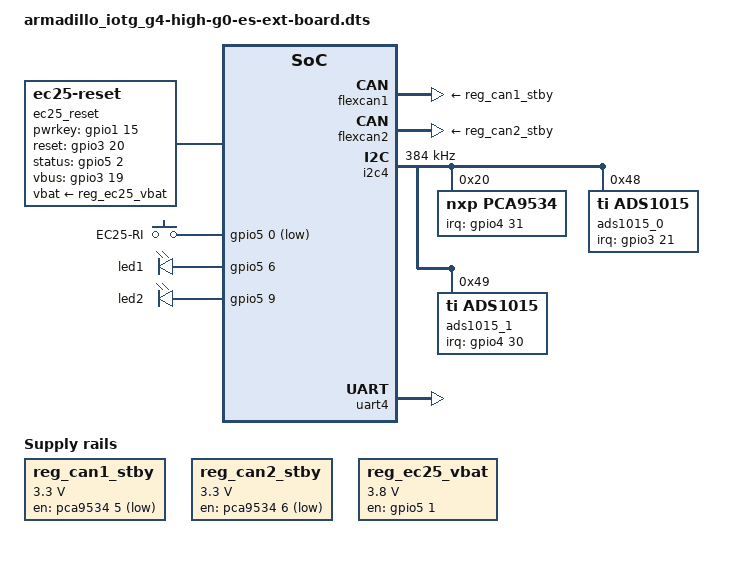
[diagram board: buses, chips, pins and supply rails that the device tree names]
// SPDX-License-Identifier: (GPL-2.0 OR MIT)
/*
 * Copyright (C) 2024 Atmark Techno, Inc. All Rights Reserved.
 */

/dts-v1/;
/plugin/;

#include <dt-bindings/gpio/gpio.h>
#include <dt-bindings/clock/imx8mp-clock.h>
#include <dt-bindings/input/input.h>
#include <dt-bindings/interrupt-controller/irq.h>

#include "imx8mp-pinfunc.h"

&{/} {
	reg_can1_stby: regulator-can1-stby {
		compatible = "regulator-fixed";
		regulator-name = "can1-stby";
		regulator-min-microvolt = <3300000>;
		regulator-max-microvolt = <3300000>;
		gpio = <&pca9534 5 GPIO_ACTIVE_LOW>;
	};

	reg_can2_stby: regulator-can2-stby {
		compatible = "regulator-fixed";
		regulator-name = "can2-stby";
		regulator-min-microvolt = <3300000>;
		regulator-max-microvolt = <3300000>;
		gpio = <&pca9534 6 GPIO_ACTIVE_LOW>;
	};

	reg_ec25_vbat: regulator-ec25-vbat {
		compatible = "regulator-fixed";
		regulator-name = "ec25_vbat";
		pinctrl-names = "default";
		pinctrl-0 = <&pinctrl_ec25_vbat>;
		regulator-min-microvolt = <3800000>;
		regulator-max-microvolt = <3800000>;
		gpio = <&gpio5 1 GPIO_ACTIVE_HIGH>;
		enable-active-high;
		off-on-delay = <100000>;
		startup-delay-us = <500>;
	};

	ec25_reset: ec25-reset {
		compatible = "ec25-reset";
		pinctrl-names = "default";
		pinctrl-0 = <&pinctrl_ec25_reset>;
		pwrkey-gpios = <&gpio1 15 GPIO_ACTIVE_HIGH>;
		reset-gpios = <&gpio3 20 GPIO_ACTIVE_HIGH>;
		status-gpios = <&gpio5 2 GPIO_ACTIVE_HIGH>;
		/*
		 * The vbus logic is different of
		 * armadillo_iotg_g4-lte-ext-board. Do not add the
		 * 'vbus-active-low' property.
		 */
		vbus-gpios = <&gpio3 19 GPIO_ACTIVE_HIGH>;
		vbat-supply = <&reg_ec25_vbat>;
	};

	gpio_keys_ec25: gpio-keys-ec25 {
		compatible = "gpio-keys";
		pinctrl-names = "default";
		pinctrl-0 = <&pinctrl_gpio_keys_ec25>;

		ec25-ri {
			label = "EC25-RI";
			gpios = <&gpio5 0 GPIO_ACTIVE_LOW>;
			linux,code = <KEY_PROG2>;
			gpio-key,wakeup;
		};
	};

	leds {
		compatible = "gpio-leds";
		pinctrl-names = "default";
		pinctrl-0 = <&pinctrl_gpio_leds>;

		led1 {
			label = "led1";
			gpios = <&gpio5 6 GPIO_ACTIVE_HIGH>;
			default-state = "off";
		};

		led2 {
			label = "led2";
			gpios = <&gpio5 9 GPIO_ACTIVE_HIGH>;
			default-state = "off";
		};
	};
};

&flexcan1 {
	pinctrl-names = "default";
	pinctrl-0 = <&pinctrl_flexcan1>;
	xceiver-supply = <&reg_can1_stby>;
	status = "okay";
};

&flexcan2 {
	pinctrl-names = "default";
	pinctrl-0 = <&pinctrl_flexcan2>;
	xceiver-supply = <&reg_can2_stby>;
	status = "okay";
};

&i2c4 {
	clock-frequency = <384000>;
	pinctrl-names = "default";
	pinctrl-0 = <&pinctrl_i2c4>;
	status = "okay";
	#address-cells = <1>;
	#size-cells = <0>;

	pca9534: gpio@20 {
		compatible = "nxp,pca9534";
		reg = <0x20>;
		gpio-controller;
		pinctrl-names = "default";
		pinctrl-0 = <&pinctrl_pca9534>;
		interrupt-parent = <&gpio4>;
		interrupts = <31 IRQ_TYPE_EDGE_FALLING>;
		#gpio-cells = <2>;
		wakeup-source;

		adc-5v-en-hog {
			gpio-hog;
			gpios = <4 GPIO_ACTIVE_HIGH>;
			output-high;
			line-name = "ADC_5V_EN";
		};
	};

	ads1015_0: adc@48 {
		compatible = "ti,ads1015";
		reg = <0x48>;
		pinctrl-names = "default";
		pinctrl-0 = <&pinctrl_ads1015_0>;
		interrupts-extended = <&gpio3 21 IRQ_TYPE_LEVEL_LOW>;
		#address-cells = <1>;
		#size-cells = <0>;

		channel@4 {
			reg = <4>;
			ti,gain = <0>; /* +/- 6.144 V */
			ti,datarate = <6>; /* 3300 SPS */
		};
	};

	ads1015_1: adc@49 {
		compatible = "ti,ads1015";
		reg = <0x49>;
		pinctrl-names = "default";
		pinctrl-0 = <&pinctrl_ads1015_1>;
		interrupts-extended = <&gpio4 30 IRQ_TYPE_LEVEL_LOW>;
		#address-cells = <1>;
		#size-cells = <0>;

		channel@4 {
			reg = <4>;
			ti,gain = <0>;
			ti,datarate = <6>;
		};
	};
};

&uart4 {
	pinctrl-names = "default";
	pinctrl-0 = <&pinctrl_uart4>;
	status = "okay";
};

&iomuxc {
	pinctrl_flexcan1: flexcan1grp {
		fsl,pins = <
			MX8MP_IOMUXC_SAI5_RXD1__CAN1_TX		0x154 /* CON11_21 */
			MX8MP_IOMUXC_SAI5_RXD2__CAN1_RX		0x154 /* CON11_23 */
		>;
	};

	pinctrl_flexcan2: flexcan2grp {
		fsl,pins = <
			MX8MP_IOMUXC_SAI5_RXD3__CAN2_TX		0x154 /* CON11_25 */
			MX8MP_IOMUXC_SAI5_MCLK__CAN2_RX		0x154 /* CON11_27 */
		>;
	};

	pinctrl_i2c4: i2c4grp {
		fsl,pins = <
			MX8MP_IOMUXC_I2C4_SCL__I2C4_SCL		0x400000e2 /* CON11_5 */
			MX8MP_IOMUXC_I2C4_SDA__I2C4_SDA		0x400000e2 /* CON11_7 */
		>;
	};

	pinctrl_pca9534: pca9534grp {
		fsl,pins = <
			MX8MP_IOMUXC_SAI3_TXFS__GPIO4_IO31	0x140 /* CON11_14 */
		>;
	};

	pinctrl_ads1015_0: ads1015_0grp {
		fsl,pins = <
			MX8MP_IOMUXC_SAI5_RXD0__GPIO3_IO21	0x140 /* CON11_19 */
		>;
	};

	pinctrl_ads1015_1: ads1015_1grp {
		fsl,pins = <
			MX8MP_IOMUXC_SAI3_RXD__GPIO4_IO30	0x140 /* CON11_20 */
		>;
	};

	pinctrl_uart4: uart4grp {
		fsl,pins = <
			MX8MP_IOMUXC_ECSPI2_MISO__UART4_DCE_CTS	0x140 /* CON11_9 */
			MX8MP_IOMUXC_ECSPI2_MOSI__UART4_DCE_TX	0x140 /* CON11_11 */
			MX8MP_IOMUXC_ECSPI2_SCLK__UART4_DCE_RX	0x140 /* CON11_13 */
			MX8MP_IOMUXC_ECSPI2_SS0__UART4_DCE_RTS	0x140 /* CON11_15 */
		>;
	};

	pinctrl_ec25_vbat: ec25_vbat_grp {
		fsl,pins = <
			MX8MP_IOMUXC_SAI3_TXD__GPIO5_IO01	0x40000000 /* CON11_18 */
		>;
	};

	pinctrl_ec25_reset: ec25_reset_grp {
		fsl,pins = <
			MX8MP_IOMUXC_GPIO1_IO15__GPIO1_IO15	0x40000000 /* CON11_24 pwerkey */
			MX8MP_IOMUXC_SAI5_RXC__GPIO3_IO20	0x40000000 /* CON11_17 reset */
			MX8MP_IOMUXC_SAI3_MCLK__GPIO5_IO02	0x140	   /* CON11_22 status */
			MX8MP_IOMUXC_SAI5_RXFS__GPIO3_IO19	0x40000000 /* CON11_29 vbus */
		>;
	};

	pinctrl_gpio_keys_ec25: gpio_keys_ec25 {
		fsl,pins = <
			MX8MP_IOMUXC_SAI3_TXC__GPIO5_IO00	0x400001c0 /* CON11_16 */
		>;
	};

	pinctrl_gpio_leds: gpio_ledsgrp {
		fsl,pins = <
			MX8MP_IOMUXC_ECSPI1_SCLK__GPIO5_IO06	0x152 /* CON11_10 NET_LED1 */
			MX8MP_IOMUXC_ECSPI1_SS0__GPIO5_IO09	0x152 /* CON11_12 NET_LED2 */
		>;
	};
};
